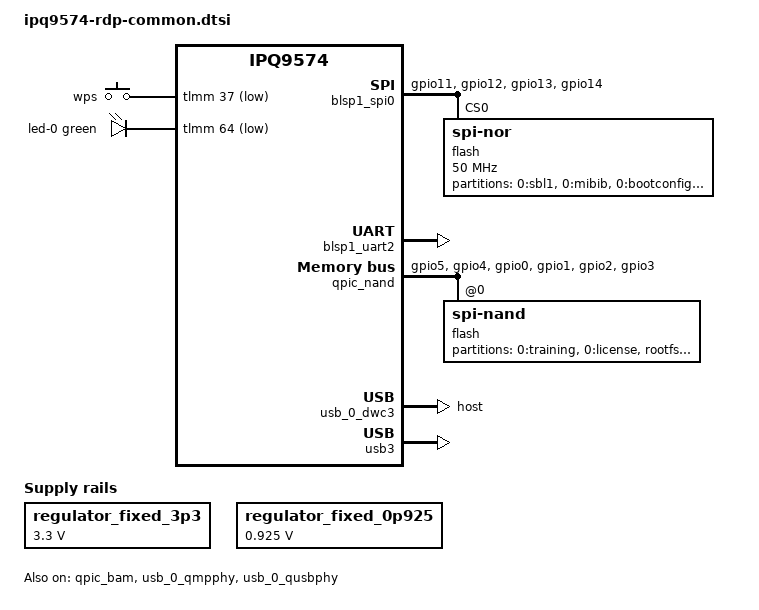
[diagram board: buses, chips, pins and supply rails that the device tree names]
// SPDX-License-Identifier: (GPL-2.0+ OR BSD-3-Clause)
/*
 * IPQ9574 RDP board common device tree source
 *
 * Copyright (c) 2020-2021 The Linux Foundation. All rights reserved.
 * Copyright (c) 2023-2024, Qualcomm Innovation Center, Inc. All rights reserved.
 */

/dts-v1/;

#include <dt-bindings/gpio/gpio.h>
#include <dt-bindings/input/input.h>
#include <dt-bindings/leds/common.h>
#include "ipq9574.dtsi"

/ {
	aliases {
		serial0 = &blsp1_uart2;
	};

	chosen {
		stdout-path = "serial0:115200n8";
	};

	regulator_fixed_3p3: s3300 {
		compatible = "regulator-fixed";
		regulator-min-microvolt = <3300000>;
		regulator-max-microvolt = <3300000>;
		regulator-boot-on;
		regulator-always-on;
		regulator-name = "fixed_3p3";
	};

	regulator_fixed_0p925: s0925 {
		compatible = "regulator-fixed";
		regulator-min-microvolt = <925000>;
		regulator-max-microvolt = <925000>;
		regulator-boot-on;
		regulator-always-on;
		regulator-name = "fixed_0p925";
	};

	gpio-keys {
		compatible = "gpio-keys";
		pinctrl-0 = <&gpio_keys_default>;
		pinctrl-names = "default";

		button-wps {
			label = "wps";
			linux,code = <KEY_WPS_BUTTON>;
			gpios = <&tlmm 37 GPIO_ACTIVE_LOW>;
			debounce-interval = <60>;
		};
	};

	leds {
		compatible = "gpio-leds";
		pinctrl-0 = <&gpio_leds_default>;
		pinctrl-names = "default";

		led-0 {
			color = <LED_COLOR_ID_GREEN>;
			function = LED_FUNCTION_WLAN;
			gpios = <&tlmm 64 GPIO_ACTIVE_LOW>;
			linux,default-trigger = "phy0tx";
			default-state = "off";
		};
	};
};

&blsp1_spi0 {
	pinctrl-0 = <&spi_0_pins>;
	pinctrl-names = "default";
	status = "okay";

	flash@0 {
		compatible = "jedec,spi-nor";
		reg = <0>;
		#address-cells = <1>;
		#size-cells = <1>;
		spi-max-frequency = <50000000>;

		partitions {
			compatible = "fixed-partitions";
			#address-cells = <1>;
			#size-cells = <1>;

			partition@0 {
				label = "0:sbl1";
				reg = <0x0 0xc0000>;
				read-only;
			};

			partition@c0000 {
				label = "0:mibib";
				reg = <0xc0000 0x10000>;
				read-only;
			};

			partition@d0000 {
				label = "0:bootconfig";
				reg = <0xd0000 0x20000>;
				read-only;
			};

			partition@f0000 {
				label = "0:bootconfig1";
				reg = <0xf0000 0x20000>;
				read-only;
			};

			partition@110000 {
				label = "0:qsee";
				reg = <0x110000 0x180000>;
				read-only;
			};

			partition@290000 {
				label = "0:qsee_1";
				reg = <0x290000 0x180000>;
				read-only;
			};

			partition@410000 {
				label = "0:devcfg";
				reg = <0x410000 0x10000>;
				read-only;
			};

			partition@420000 {
				label = "0:devcfg_1";
				reg = <0x420000 0x10000>;
				read-only;
			};

			partition@430000 {
				label = "0:apdp";
				reg = <0x430000 0x10000>;
				read-only;
			};

			partition@440000 {
				label = "0:apdp_1";
				reg = <0x440000 0x10000>;
				read-only;
			};

			partition@450000 {
				label = "0:tme";
				reg = <0x450000 0x40000>;
				read-only;
			};

			partition@490000 {
				label = "0:tme_1";
				reg = <0x490000 0x40000>;
				read-only;
			};

			partition@4d0000 {
				label = "0:rpm";
				reg = <0x4d0000 0x20000>;
				read-only;
			};

			partition@4f0000 {
				label = "0:rpm_1";
				reg = <0x4f0000 0x20000>;
				read-only;
			};

			partition@510000 {
				label = "0:cdt";
				reg = <0x510000 0x10000>;
				read-only;
			};

			partition@520000 {
				label = "0:cdt_1";
				reg = <0x520000 0x10000>;
				read-only;
			};

			partition@530000 {
				label = "0:appsblenv";
				reg = <0x530000 0x10000>;

				nvmem-layout {
					compatible = "u-boot,env";

					macaddr_lan: ethaddr {
						#nvmem-cell-cells = <1>;
					};
				};
			};

			partition@540000 {
				label = "0:appsbl";
				reg = <0x540000 0xa0000>;
				read-only;
			};

			partition@5e0000 {
				label = "0:appsbl_1";
				reg = <0x5e0000 0xa0000>;
				read-only;
			};

			partition@680000 {
				label = "0:art";
				reg = <0x680000 0x100000>;
				read-only;
			};

			partition@780000 {
				label = "0:ethphyfw";
				reg = <0x780000 0x80000>;
				read-only;

				nvmem-layout {
					compatible = "fixed-layout";

					aqr_fw: aqr-fw@0 {
						reg = <0x0 0x5fc02>;
					};
				};
			};
		};
	};
};

&blsp1_uart2 {
	pinctrl-0 = <&uart2_pins>;
	pinctrl-names = "default";
	status = "okay";
};

&rpm_requests {
	regulators {
		compatible = "qcom,rpm-mp5496-regulators";

		ipq9574_s1: s1 {
		/*
		 * During kernel bootup, the SoC runs at 800MHz with 875mV set by the bootloaders.
		 * During regulator registration, kernel not knowing the initial voltage,
		 * considers it as zero and brings up the regulators with minimum supported voltage.
		 * Update the regulator-min-microvolt with SVS voltage of 725mV so that
		 * the regulators are brought up with 725mV which is sufficient for all the
		 * corner parts to operate at 800MHz
		 */
			regulator-min-microvolt = <725000>;
			regulator-max-microvolt = <1075000>;
		};

		mp5496_l2: l2 {
			regulator-min-microvolt = <1800000>;
			regulator-max-microvolt = <1800000>;
			regulator-always-on;
			regulator-boot-on;
		};

		mp5496_l5: l5 {
			regulator-min-microvolt = <1800000>;
			regulator-max-microvolt = <1800000>;
			regulator-always-on;
			regulator-boot-on;
		};
	};
};

&sleep_clk {
	clock-frequency = <32000>;
};

&tlmm {
	spi_0_pins: spi-0-state {
		pins = "gpio11", "gpio12", "gpio13", "gpio14";
		function = "blsp0_spi";
		drive-strength = <8>;
		bias-disable;
	};

	gpio_keys_default: gpio-keys-default-state {
		pins = "gpio37";
		function = "gpio";
		drive-strength = <8>;
		bias-pull-up;
	};

	gpio_leds_default: gpio-leds-default-state {
		pins = "gpio64";
		function = "gpio";
		drive-strength = <8>;
		bias-pull-up;
	};

	qpic_snand_default_state: qpic-snand-default-state {
		clock-pins {
			pins = "gpio5";
			function = "qspi_clk";
			drive-strength = <8>;
			bias-disable;
		};

		cs-pins {
			pins = "gpio4";
			function = "qspi_cs";
			drive-strength = <8>;
			bias-disable;
		};

		data-pins {
			pins = "gpio0", "gpio1", "gpio2", "gpio3";
			function = "qspi_data";
			drive-strength = <8>;
			bias-disable;
		};
	};
};

&qpic_bam {
	status = "okay";
};

&qpic_nand {
	pinctrl-0 = <&qpic_snand_default_state>;
	pinctrl-names = "default";

	status = "okay";

	flash@0 {
		compatible = "spi-nand";
		reg = <0>;
		#address-cells = <1>;
		#size-cells = <1>;
		nand-ecc-engine = <&qpic_nand>;
		nand-ecc-strength = <4>;
		nand-ecc-step-size = <512>;

		partitions {
			compatible = "fixed-partitions";
			#address-cells = <1>;
			#size-cells = <1>;

			partition@0 {
				label = "0:training";
				reg = <0x0 0x80000>;
				read-only;
			};

			partition@80000 {
				label = "0:license";
				reg = <0x80000 0x40000>;
				read-only;
			};

			partition@c0000 {
				label = "rootfs";
				reg = <0xc0000 0x3c00000>;
			};

			partition@3cc0000 {
				label = "rootfs_1";
				reg = <0x3cc0000 0x3c00000>;
			};
		};
	};
};

&usb_0_dwc3 {
	dr_mode = "host";
};

&usb_0_qmpphy {
	vdda-pll-supply = <&mp5496_l5>;
	vdda-phy-supply = <&regulator_fixed_0p925>;

	status = "okay";
};

&usb_0_qusbphy {
	vdd-supply = <&regulator_fixed_0p925>;
	vdda-pll-supply = <&mp5496_l5>;
	vdda-phy-dpdm-supply = <&regulator_fixed_3p3>;

	status = "okay";
};

&usb3 {
	status = "okay";
};

/*
 * The bootstrap pins for the board select the XO clock frequency
 * (48 MHZ or 96 MHZ used for different RDP type board). This setting
 * automatically enables the right dividers, to ensure the reference
 * clock output from WiFi to the CMN PLL is 48 MHZ.
 */
&ref_48mhz_clk {
	clock-div = <1>;
	clock-mult = <1>;
};

/*
 * The frequency of xo_board_clk is fixed to 24 MHZ, which is routed
 * from WiFi output clock 48 MHZ divided by 2.
 */
&xo_board_clk {
	clock-div = <2>;
	clock-mult = <1>;
};

&xo_clk {
	clock-frequency = <48000000>;
};
